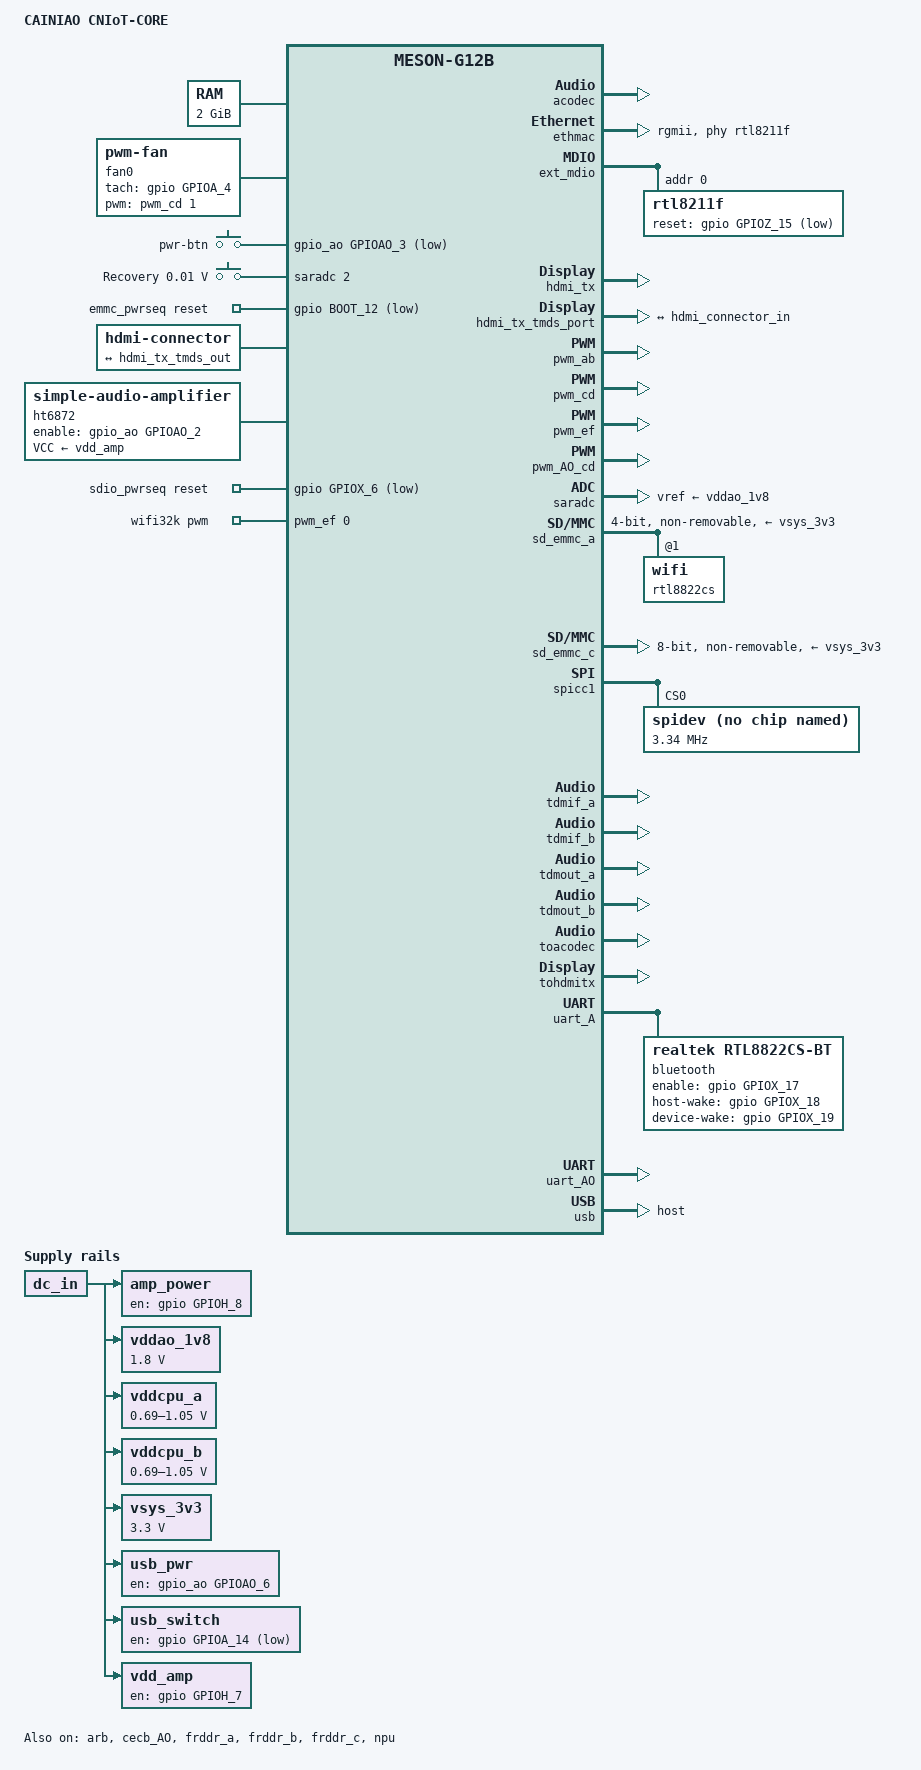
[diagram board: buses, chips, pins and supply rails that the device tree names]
// SPDX-License-Identifier: (GPL-2.0+ OR MIT)
/*
 * Copyright (c) 2019 BayLibre, SAS
 * Author: Neil Armstrong <narmstrong@baylibre.com>
 * Copyright (c) 2019 Christian Hewitt <christianshewitt@gmail.com>
 * Copyright (c) 2025 retro98boy <retro98boy@qq.com>
 */

/dts-v1/;

#include "meson-g12b-a311d.dtsi"
#include <dt-bindings/input/input.h>
#include <dt-bindings/gpio/meson-g12a-gpio.h>
#include <dt-bindings/sound/meson-g12a-toacodec.h>
#include <dt-bindings/sound/meson-g12a-tohdmitx.h>

/ {
	compatible = "CAINIAO,CNIoT-CORE", "amlogic,a311d", "amlogic,g12b";
	model = "CAINIAO CNIoT-CORE";

	aliases {
		serial0 = &uart_AO;
		ethernet0 = &ethmac;
		rtc99 = &vrtc;
	};

	chosen {
		stdout-path = "serial0:115200n8";
	};

	memory@0 {
		device_type = "memory";
		reg = <0x0 0x0 0x0 0x80000000>;
	};

	fan0: pwm-fan {
		compatible = "pwm-fan";
		#cooling-cells = <2>;
		cooling-levels = <0 120 170 220>;
		pwms = <&pwm_cd 1 40000 1>;
		tach-gpio = <&gpio GPIOA_4 GPIO_ACTIVE_HIGH>;
	};

	gpio-keys-polled {
		compatible = "gpio-keys-polled";
		poll-interval = <100>;

		pwr-btn {
			label = "pwr-btn";
			linux,code = <KEY_POWER>;
			gpios = <&gpio_ao GPIOAO_3 GPIO_ACTIVE_LOW>;
		};
	};

	adc-keys {
		compatible = "adc-keys";
		io-channels = <&saradc 2>;
		io-channel-names = "buttons";
		keyup-threshold-microvolt = <1710000>;
		poll-interval = <100>;

		button-recovery {
			label = "Recovery";
			linux,code = <KEY_VENDOR>;
			press-threshold-microvolt = <10000>;
		};
	};

	emmc_pwrseq: emmc-pwrseq {
		compatible = "mmc-pwrseq-emmc";
		reset-gpios = <&gpio BOOT_12 GPIO_ACTIVE_LOW>; /* In the vendor DTS, this is BOOT_10, but the actual test result is BOOT_12. */
	};

	hdmi-connector {
		compatible = "hdmi-connector";
		type = "a";

		port {
			hdmi_connector_in: endpoint {
				remote-endpoint = <&hdmi_tx_tmds_out>;
			};
		};
	};

	ht6872: ht6872 {
		compatible = "simple-audio-amplifier";
		enable-gpios = <&gpio_ao GPIOAO_2 GPIO_ACTIVE_HIGH>;
		VCC-supply = <&vdd_amp>;
		sound-name-prefix = "HT6872";
		status = "okay";
	};

	sdio_pwrseq: sdio-pwrseq {
		compatible = "mmc-pwrseq-simple";
		reset-gpios = <&gpio GPIOX_6 GPIO_ACTIVE_LOW>;
		clocks = <&wifi32k>;
		clock-names = "ext_clock";
	};

	wifi32k: wifi32k {
		compatible = "pwm-clock";
		#clock-cells = <0>;
		clock-frequency = <32768>;
		pwms = <&pwm_ef 0 30518 0>; /* PWM_E at 32.768KHz */
	};

	dc_in: regulator-dc-in {
		compatible = "regulator-fixed";
		regulator-name = "dc_in";
		regulator-always-on;
		regulator-boot-on;
	};

	/* important to usb hub */
	amp_power: regulator-amp-power {
		compatible = "regulator-fixed";
		enable-active-high;
		gpio = <&gpio GPIOH_8 GPIO_ACTIVE_HIGH>;
		regulator-name = "amp_power";
		regulator-always-on;
		regulator-boot-on;
		vin-supply = <&dc_in>;
	};

	vddao_1v8: regulator-vddao-1v8 {
		compatible = "regulator-fixed";
		regulator-name = "vddao_1v8";
		regulator-min-microvolt = <1800000>;
		regulator-max-microvolt = <1800000>;
		regulator-always-on;
		regulator-boot-on;
		vin-supply = <&dc_in>;
	};

	vddcpu_a: regulator-vddcpu-a {
		compatible = "pwm-regulator";
		regulator-name = "VDDCPU_A";
		regulator-min-microvolt = <690000>;
		regulator-max-microvolt = <1050000>;
		pwm-supply = <&dc_in>;
		pwms = <&pwm_ab 0 1250 0>;
		pwm-dutycycle-range = <100 0>;
		regulator-boot-on;
		regulator-always-on;
	};

	vddcpu_b: regulator-vddcpu-b {
		compatible = "pwm-regulator";
		regulator-name = "VDDCPU_B";
		regulator-min-microvolt = <690000>;
		regulator-max-microvolt = <1050000>;
		pwm-supply = <&dc_in>;
		pwms = <&pwm_AO_cd 1 1250 0>;
		pwm-dutycycle-range = <100 0>;
		regulator-boot-on;
		regulator-always-on;
	};

	vsys_3v3: regulator-vsys-3v3 {
		compatible = "regulator-fixed";
		regulator-name = "vsys_3v3";
		regulator-min-microvolt = <3300000>;
		regulator-max-microvolt = <3300000>;
		regulator-always-on;
		regulator-boot-on;
		vin-supply = <&dc_in>;
	};

	usb_pwr: regulator-usb-pwr {
		compatible = "regulator-fixed";
		enable-active-high;
		gpio = <&gpio_ao GPIOAO_6 GPIO_ACTIVE_HIGH>; /* always keep usb hub reset pin high */
		regulator-name = "usb_pwr";
		regulator-always-on;
		regulator-boot-on;
		vin-supply = <&dc_in>;
	};

	/*
	 * The Type-C port on the host is switched with the four USB contacts on the side of the host via GPIOA_14.
	 * Since the Type-C port on the host is either used for power supply or blocked by the dock,
	 * switching USB 2.0 access to the four contacts on the side of the host is a better choice.
	 * To use the Type-C port for data transmission,
	 * you only need to set GPIOA_14 in the node below to a high level.
	 */
	usb_switch: regulator-usb-switch {
		compatible = "regulator-fixed";
		enable-active-low;
		gpio = <&gpio GPIOA_14 GPIO_ACTIVE_LOW>;
		regulator-name = "usb_switch";
		regulator-always-on;
		regulator-boot-on;
		vin-supply = <&dc_in>;
	};

	vdd_amp: regulator-vdd-amp {
		compatible = "regulator-fixed";
		enable-active-high;
		gpio = <&gpio GPIOH_7 GPIO_ACTIVE_HIGH>;
		regulator-name = "vdd_amp";
		regulator-always-on;
		regulator-boot-on;
		vin-supply = <&dc_in>;
	};

	sound {
		compatible = "amlogic,axg-sound-card";
		model = "cainiao-cniot-core";
		audio-widgets = "Speaker", "Internal Speaker";
		audio-aux-devs = <&tdmout_a>, <&tdmout_b>, <&ht6872>;
		audio-routing = "TDMOUT_A IN 0", "FRDDR_A OUT 0",
				"TDMOUT_A IN 1", "FRDDR_B OUT 0",
				"TDMOUT_A IN 2", "FRDDR_C OUT 0",
				"TDM_A Playback", "TDMOUT_A OUT",
				"TDMOUT_B IN 0", "FRDDR_A OUT 1",
				"TDMOUT_B IN 1", "FRDDR_B OUT 1",
				"TDMOUT_B IN 2", "FRDDR_C OUT 1",
				"TDM_B Playback", "TDMOUT_B OUT",
				"HT6872 INL", "ACODEC LOLP",
				"HT6872 INR", "ACODEC LORP",
				"Internal Speaker", "HT6872 OUTL",
				"Internal Speaker", "HT6872 OUTR";

		clocks = <&clkc CLKID_MPLL2>,
			 <&clkc CLKID_MPLL0>,
			 <&clkc CLKID_MPLL1>;

		assigned-clocks = <&clkc CLKID_MPLL2>,
				  <&clkc CLKID_MPLL0>,
				  <&clkc CLKID_MPLL1>;
		assigned-clock-parents = <0>, <0>, <0>;
		assigned-clock-rates = <294912000>,
				       <270950400>,
				       <393216000>;

		dai-link-0 {
			sound-dai = <&frddr_a>;
		};

		dai-link-1 {
			sound-dai = <&frddr_b>;
		};

		dai-link-2 {
			sound-dai = <&frddr_c>;
		};

		/* 8ch hdmi interface */
		dai-link-3 {
			sound-dai = <&tdmif_a>;
			dai-format = "i2s";
			dai-tdm-slot-tx-mask-0 = <1 1>;
			dai-tdm-slot-tx-mask-1 = <1 1>;
			dai-tdm-slot-tx-mask-2 = <1 1>;
			dai-tdm-slot-tx-mask-3 = <1 1>;
			mclk-fs = <256>;

			codec-0 {
				sound-dai = <&tohdmitx TOHDMITX_I2S_IN_A>;
			};

			codec-1 {
				sound-dai = <&toacodec TOACODEC_IN_A>;
			};
		};

		/* 8ch hdmi interface */
		dai-link-4 {
			sound-dai = <&tdmif_b>;
			dai-format = "i2s";
			dai-tdm-slot-tx-mask-0 = <1 1>;
			dai-tdm-slot-tx-mask-1 = <1 1>;
			dai-tdm-slot-tx-mask-2 = <1 1>;
			dai-tdm-slot-tx-mask-3 = <1 1>;
			mclk-fs = <256>;

			codec-0 {
				sound-dai = <&tohdmitx TOHDMITX_I2S_IN_B>;
			};

			codec-1 {
				sound-dai = <&toacodec TOACODEC_IN_B>;
			};
		};

		/* hdmi glue */
		dai-link-5 {
			sound-dai = <&tohdmitx TOHDMITX_I2S_OUT>;

			codec {
				sound-dai = <&hdmi_tx>;
			};
		};

		/* acodec glue */
		dai-link-6 {
			sound-dai = <&toacodec TOACODEC_OUT>;

			codec {
				sound-dai = <&acodec>;
			};
		};
	};
};

&acodec {
	AVDD-supply = <&vddao_1v8>;
	status = "okay";
};

&arb {
	status = "okay";
};

&clkc_audio {
	status = "okay";
};

&cecb_AO {
	pinctrl-0 = <&cec_ao_b_h_pins>;
	pinctrl-names = "default";
	status = "okay";
	hdmi-phandle = <&hdmi_tx>;
};

&cpu0 {
	cpu-supply = <&vddcpu_b>;
	operating-points-v2 = <&cpu_opp_table_0>;
	clocks = <&clkc CLKID_CPU_CLK>;
	clock-latency = <50000>;
};

&cpu1 {
	cpu-supply = <&vddcpu_b>;
	operating-points-v2 = <&cpu_opp_table_0>;
	clocks = <&clkc CLKID_CPU_CLK>;
	clock-latency = <50000>;
};

&cpu100 {
	cpu-supply = <&vddcpu_a>;
	operating-points-v2 = <&cpub_opp_table_1>;
	clocks = <&clkc CLKID_CPUB_CLK>;
	clock-latency = <50000>;
};

&cpu101 {
	cpu-supply = <&vddcpu_a>;
	operating-points-v2 = <&cpub_opp_table_1>;
	clocks = <&clkc CLKID_CPUB_CLK>;
	clock-latency = <50000>;
};

&cpu102 {
	cpu-supply = <&vddcpu_a>;
	operating-points-v2 = <&cpub_opp_table_1>;
	clocks = <&clkc CLKID_CPUB_CLK>;
	clock-latency = <50000>;
};

&cpu103 {
	cpu-supply = <&vddcpu_a>;
	operating-points-v2 = <&cpub_opp_table_1>;
	clocks = <&clkc CLKID_CPUB_CLK>;
	clock-latency = <50000>;
};

&cpu_thermal {
	trips {
		cpu_active: cpu-active {
			temperature = <60000>; /* millicelsius */
			hysteresis = <5000>; /* millicelsius */
			type = "active";
		};
	};

	cooling-maps {
		map2 {
			trip = <&cpu_active>;
			cooling-device = <&fan0 THERMAL_NO_LIMIT THERMAL_NO_LIMIT>;
		};
	};
};

&ethmac {
	pinctrl-0 = <&eth_pins>, <&eth_rgmii_pins>;
	pinctrl-names = "default";
	status = "okay";
	phy-mode = "rgmii";
	phy-handle = <&rtl8211f>;
	amlogic,tx-delay-ns = <2>;
};

&ext_mdio {
	rtl8211f: rtl8211f@0 {
		reg = <0>;
		max-speed = <1000>;

		reset-assert-us = <10000>;
		reset-deassert-us = <80000>;
		reset-gpios = <&gpio GPIOZ_15 (GPIO_ACTIVE_LOW | GPIO_OPEN_DRAIN)>;

		interrupt-parent = <&gpio_intc>;
		/* MAC_INTR on GPIOZ_14 */
		interrupts = <IRQID_GPIOZ_14 IRQ_TYPE_LEVEL_LOW>; /* tested by voltmeter */
	};
};

&frddr_a {
	status = "okay";
};

&frddr_b {
	status = "okay";
};

&frddr_c {
	status = "okay";
};

&hdmi_tx {
	status = "okay";
	pinctrl-0 = <&hdmitx_hpd_pins>, <&hdmitx_ddc_pins>;
	pinctrl-names = "default";
};

&hdmi_tx_tmds_port {
	hdmi_tx_tmds_out: endpoint {
		remote-endpoint = <&hdmi_connector_in>;
	};
};

&npu {
	status = "okay";
};

&pwm_ab {
	status = "okay";
	pinctrl-0 = <&pwm_a_e_pins>;
	pinctrl-names = "default";
	clocks = <&xtal>;
	clock-names = "clkin0";
};

&pwm_cd {
	status = "okay";
	pinctrl-0 = <&pwm_d_a_pins>;
	pinctrl-names = "default";
};

&pwm_ef {
	status = "okay";
	pinctrl-0 = <&pwm_e_pins>;
	pinctrl-names = "default";
};

&pwm_AO_cd {
	pinctrl-0 = <&pwm_ao_d_e_pins>;
	pinctrl-names = "default";
	clocks = <&xtal>;
	clock-names = "clkin1";
	status = "okay";
};

&saradc {
	status = "okay";
	vref-supply = <&vddao_1v8>;
};

&sd_emmc_a {
	status = "okay";
	pinctrl-0 = <&sdio_pins>;
	pinctrl-1 = <&sdio_clk_gate_pins>;
	pinctrl-names = "default", "clk-gate";
	#address-cells = <1>;
	#size-cells = <0>;

	bus-width = <4>;
	max-frequency = <100000000>;
	cap-sdio-irq;
	cap-sd-highspeed;
	non-removable;

	/* WiFi firmware requires power in suspend */
	keep-power-in-suspend;
	mmc-pwrseq = <&sdio_pwrseq>;
	vmmc-supply = <&vsys_3v3>;
	vqmmc-supply = <&vddao_1v8>;

	rtl8822cs: wifi@1 {
		reg = <1>;
		/*
		 * tested by voltmeter
		 * WL_REG_ON GPIOX_6
		 * WL_WAKE_HOST GPIOX_5
		 */
	};
};

&sd_emmc_c {
	status = "okay";
	pinctrl-0 = <&emmc_ctrl_pins>, <&emmc_data_8b_pins>, <&emmc_ds_pins>;
	pinctrl-1 = <&emmc_clk_gate_pins>;
	pinctrl-names = "default", "clk-gate";

	max-frequency = <200000000>;
	bus-width = <8>;
	cap-mmc-highspeed;
	mmc-ddr-1_8v;
	mmc-hs200-1_8v;
	non-removable;

	mmc-pwrseq = <&emmc_pwrseq>;
	vmmc-supply = <&vsys_3v3>;
	vqmmc-supply = <&vddao_1v8>;
};

/*
 * GPIOH_4 is connected to 6 WS2812 LEDs.
 * Reusing GPIOH_4 as SPI MOSI to control the WS2812 offers superior performance compared to the GPIO method.
 */
&spicc1_pins {
	mux {
		groups = "spi1_mosi";
	};
};

/* Controlling WS2812 LEDs via spidev in user space. */
&spicc1 {
	status = "okay";
	pinctrl-0 = <&spicc1_pins>;
	pinctrl-names = "default";

	spidev@0 {
		compatible = "rohm,dh2228fv";
		reg = <0>;
		spi-max-frequency = <3340000>;
	};
};

&tdmif_a {
	status = "okay";
};

&tdmif_b {
	status = "okay";
};

&tdmout_a {
	status = "okay";
};

&tdmout_b {
	status = "okay";
};

&toacodec {
	status = "okay";
};

&tohdmitx {
	status = "okay";
};

&uart_A {
	status = "okay";
	pinctrl-0 = <&uart_a_pins>, <&uart_a_cts_rts_pins>;
	pinctrl-names = "default";
	uart-has-rtscts;

	bluetooth {
		compatible = "realtek,rtl8822cs-bt";
		enable-gpios = <&gpio GPIOX_17 GPIO_ACTIVE_HIGH>; /* tested by voltmeter */
		host-wake-gpios = <&gpio GPIOX_18 GPIO_ACTIVE_HIGH>; /* tested by voltmeter */
		device-wake-gpios = <&gpio GPIOX_19 GPIO_ACTIVE_HIGH>; /* tested by voltmeter */
	};
};

&uart_AO {
	status = "okay";
	pinctrl-0 = <&uart_ao_a_pins>;
	pinctrl-names = "default";
};

&usb2_phy0 {
	phy-supply = <&amp_power>;
};

&usb2_phy1 {
	phy-supply = <&usb_switch>;
};

&usb3_pcie_phy {
	phy-supply = <&usb_pwr>;
};

&usb {
	status = "okay";
	dr_mode = "host";
};
